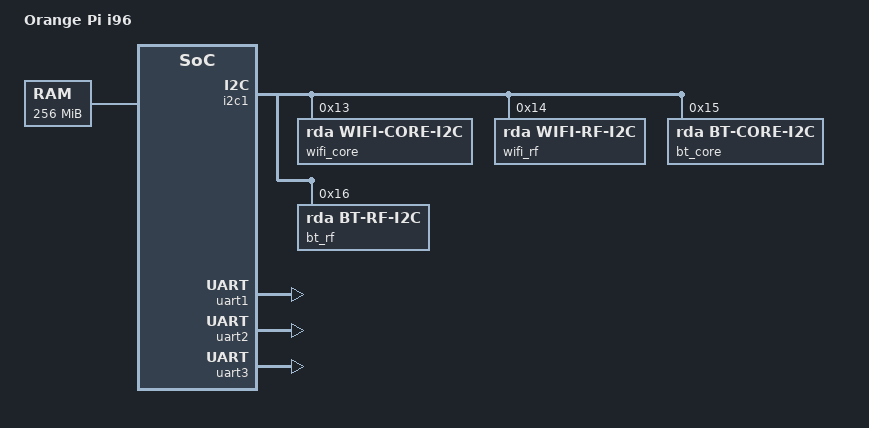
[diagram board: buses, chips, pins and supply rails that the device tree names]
// SPDX-License-Identifier: (GPL-2.0+ OR MIT)
/*
 * Copyright (c) 2017 Andreas Färber
 * Copyright (c) 2018 Manivannan Sadhasivam
 */

/dts-v1/;

#include "rda8810pl.dtsi"

/ {
	compatible = "xunlong,orangepi-i96", "rda,8810pl";
	model = "Orange Pi i96";

	aliases {
		serial0 = &uart2;
		serial1 = &uart1;
		serial2 = &uart3;
	};

	chosen {
		stdout-path = "serial2:921600n8";
	};

	memory@80000000 {
		device_type = "memory";
		reg = <0x80000000 0x10000000>;
	};

	uart_clk: uart-clk {
		compatible = "fixed-clock";
		clock-frequency = <921600>;
		#clock-cells = <0>;
	};
};

/* Bus 0: the RDA599x WiFi/BT combo control interface. u-boot only ever talks to
 * wifi_rf@14 (the chip id lives there); the other three are listed so a plain
 * "i2c probe" shows the whole combo. */
&i2c1 {
	status = "okay";

	wifi_core: wifi@13 {
		compatible = "rda,wifi-core-i2c";
		reg = <0x13>;
	};

	wifi_rf: wifi@14 {
		compatible = "rda,wifi-rf-i2c";
		reg = <0x14>;
	};

	bt_core: bluetooth@15 {
		compatible = "rda,bt-core-i2c";
		reg = <0x15>;
	};

	bt_rf: bluetooth@16 {
		compatible = "rda,bt-rf-i2c";
		reg = <0x16>;
	};
};

&uart1 {
	status = "okay";
	clocks = <&uart_clk>;
};

&uart2 {
	status = "okay";
	clocks = <&uart_clk>;
};

&uart3 {
	status = "okay";
	clocks = <&uart_clk>;
};
